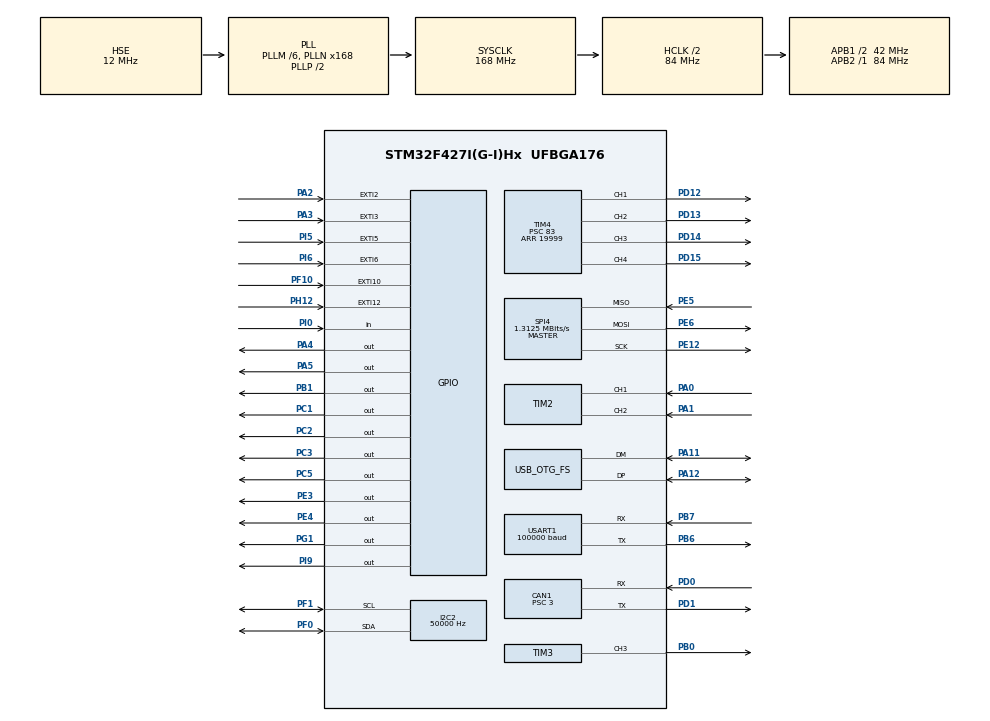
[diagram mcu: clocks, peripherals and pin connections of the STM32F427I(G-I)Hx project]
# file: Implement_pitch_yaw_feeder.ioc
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CAN1.BS1=CAN_BS1_9TQ
CAN1.BS2=CAN_BS2_4TQ
CAN1.CalculateBaudRate=1000000
CAN1.CalculateTimeBit=1000
CAN1.CalculateTimeQuantum=71.42857142857143
CAN1.Prescaler=3
Dma.Request0=USART1_RX
Dma.Request1=SPI4_TX
Dma.SPI4_TX.1.Direction=DMA_MEMORY_TO_PERIPH
Dma.SPI4_TX.1.FIFOMode=DMA_FIFOMODE_DISABLE
Dma.SPI4_TX.1.Instance=DMA2_Stream1
Dma.SPI4_TX.1.MemDataAlignment=DMA_MDATAALIGN_BYTE
Dma.SPI4_TX.1.MemInc=DMA_MINC_ENABLE
Dma.SPI4_TX.1.Mode=DMA_NORMAL
Dma.SPI4_TX.1.PeriphDataAlignment=DMA_PDATAALIGN_BYTE
Dma.SPI4_TX.1.PeriphInc=DMA_PINC_DISABLE
Dma.SPI4_TX.1.Priority=DMA_PRIORITY_LOW
Dma.USART1_RX.0.Direction=DMA_PERIPH_TO_MEMORY
Dma.USART1_RX.0.FIFOMode=DMA_FIFOMODE_DISABLE
Dma.USART1_RX.0.Instance=DMA2_Stream2
Dma.USART1_RX.0.MemDataAlignment=DMA_MDATAALIGN_BYTE
Dma.USART1_RX.0.MemInc=DMA_MINC_ENABLE
Dma.USART1_RX.0.Mode=DMA_CIRCULAR
Dma.USART1_RX.0.PeriphDataAlignment=DMA_PDATAALIGN_BYTE
Dma.USART1_RX.0.PeriphInc=DMA_PINC_DISABLE
Dma.USART1_RX.0.Priority=DMA_PRIORITY_LOW
FREERTOS.Tasks01=controlTask,24,4096,ControlTask,As weak,NULL,Static,controlTaskBuffer,controlTaskControlBlock;pitchnyawTask,24,1024,PitchnYawTask,As weak,NULL,Static,pitchnyawTaskBuffer,pitchnyawTaskControlBlock;launcherTask,24,1024,LauncherTask,As weak,NULL,Static,launcherTaskBuffer,launcherTaskControlBlock
FREERTOS.configUSE_NEWLIB_REENTRANT=1
I2C2.ClockSpeed=50000
Mcu.Family=STM32F4
Mcu.Name=STM32F427I(G-I)Hx
Mcu.Package=UFBGA176
NVIC.CAN1_RX0_IRQn=true\:5\:0\:false\:false\:true\:true\:true\:true\:true
NVIC.DMA2_Stream1_IRQn=true\:5\:0\:true\:false\:true\:true\:false\:true\:true
NVIC.DMA2_Stream2_IRQn=true\:5\:0\:false\:false\:true\:true\:false\:true\:true
NVIC.EXTI15_10_IRQn=true\:5\:0\:false\:false\:true\:true\:true\:true\:true
NVIC.EXTI2_IRQn=true\:5\:0\:false\:false\:true\:true\:true\:true\:true
NVIC.EXTI3_IRQn=true\:5\:0\:false\:false\:true\:true\:true\:true\:true
NVIC.EXTI9_5_IRQn=true\:5\:0\:false\:false\:true\:true\:true\:true\:true
NVIC.OTG_FS_IRQn=true\:5\:0\:false\:false\:true\:true\:true\:true\:true
NVIC.PriorityGroup=NVIC_PRIORITYGROUP_4
NVIC.TIM6_DAC_IRQn=true\:15\:0\:false\:false\:true\:false\:false\:true\:true
NVIC.TimeBase=TIM6_DAC_IRQn
NVIC.TimeBaseIP=TIM6
NVIC.USART1_IRQn=true\:5\:0\:false\:false\:true\:true\:true\:true\:true
PA0/WKUP.Signal=S_TIM2_CH1_ETR
PA1.Signal=S_TIM2_CH2
PA11.Mode=Device_Only
PA11.Signal=USB_OTG_FS_DM
PA12.Mode=Device_Only
PA12.Signal=USB_OTG_FS_DP
PA13.Mode=Serial_Wire
PA13.Signal=SYS_JTMS-SWDIO
PA14.Mode=Serial_Wire
PA14.Signal=SYS_JTCK-SWCLK
PA2.GPIO_ModeDefaultEXTI=GPIO_MODE_IT_RISING
PA2.GPIO_PuPd=GPIO_PULLDOWN
PA2.Signal=GPXTI2
PA3.GPIO_PuPd=GPIO_PULLDOWN
PA3.Signal=GPXTI3
PA4.Signal=GPIO_Output
PA5.Signal=GPIO_Output
PB0.Signal=S_TIM3_CH3
PB1.Signal=GPIO_Output
PB6.Mode=Asynchronous
PB6.Signal=USART1_TX
PB7.Mode=Asynchronous
PB7.Signal=USART1_RX
PC1.Signal=GPIO_Output
PC2.Signal=GPIO_Output
PC3.Signal=GPIO_Output
PC5.Signal=GPIO_Output
PD0.Mode=CAN_Activate
PD0.Signal=CAN1_RX
PD1.Mode=CAN_Activate
PD1.Signal=CAN1_TX
PD12.Signal=S_TIM4_CH1
PD13.Signal=S_TIM4_CH2
PD14.Signal=S_TIM4_CH3
PD15.Signal=S_TIM4_CH4
PE12.Mode=Full_Duplex_Master
PE12.Signal=SPI4_SCK
PE3.Signal=GPIO_Output
PE4.PinState=GPIO_PIN_SET
PE4.Signal=GPIO_Output
PE5.Mode=Full_Duplex_Master
PE5.Signal=SPI4_MISO
PE6.Mode=Full_Duplex_Master
PE6.Signal=SPI4_MOSI
PF0.Mode=I2C
PF0.Signal=I2C2_SDA
PF1.Mode=I2C
PF1.Signal=I2C2_SCL
PF10.Signal=GPXTI10
PG1.Signal=GPIO_Output
PH0/OSC_IN.Mode=HSE-External-Oscillator
PH0/OSC_IN.Signal=RCC_OSC_IN
PH1/OSC_OUT.Mode=HSE-External-Oscillator
PH1/OSC_OUT.Signal=RCC_OSC_OUT
PH12.GPIO_PuPd=GPIO_PULLDOWN
PH12.Signal=GPXTI12
PI0.GPIO_PuPd=GPIO_PULLUP
PI0.Signal=GPIO_Input
PI5.GPIO_ModeDefaultEXTI=GPIO_MODE_IT_RISING
PI5.GPIO_PuPd=GPIO_PULLDOWN
PI5.Signal=GPXTI5
PI6.GPIO_ModeDefaultEXTI=GPIO_MODE_IT_RISING_FALLING
PI6.Signal=GPXTI6
PI9.Signal=GPIO_Output
ProjectManager.HeapSize=0x200
ProjectManager.StackSize=0x400
ProjectManager.TargetToolchain=STM32CubeIDE
RCC.48MHZClocksFreq_Value=48000000
RCC.AHBCLKDivider=RCC_SYSCLK_DIV2
RCC.AHBFreq_Value=84000000
RCC.APB1CLKDivider=RCC_HCLK_DIV2
RCC.APB1Freq_Value=42000000
RCC.APB1TimFreq_Value=84000000
RCC.APB2Freq_Value=84000000
RCC.APB2TimFreq_Value=84000000
RCC.CortexFreq_Value=84000000
RCC.HCLKFreq_Value=84000000
RCC.HSE_VALUE=12000000
RCC.HSI_VALUE=16000000
RCC.LSE_VALUE=32768
RCC.PLLM=6
RCC.PLLN=168
RCC.PLLQ=7
RCC.SYSCLKFreq_VALUE=168000000
RCC.SYSCLKSource=RCC_SYSCLKSOURCE_PLLCLK
RCC.VCOOutputFreq_Value=336000000
SH.S_TIM2_CH1_ETR.0=TIM2_CH1,Encoder_Interface
SH.S_TIM2_CH2.0=TIM2_CH2,Encoder_Interface
SH.S_TIM3_CH3.0=TIM3_CH3,PWM Generation3 CH3
SH.S_TIM4_CH1.0=TIM4_CH1,PWM Generation1 CH1
SH.S_TIM4_CH2.0=TIM4_CH2,PWM Generation2 CH2
SH.S_TIM4_CH3.0=TIM4_CH3,PWM Generation3 CH3
SH.S_TIM4_CH4.0=TIM4_CH4,PWM Generation4 CH4
SPI4.BaudRatePrescaler=SPI_BAUDRATEPRESCALER_64
SPI4.CalculateBaudRate=1.3125 MBits/s
SPI4.DataSize=SPI_DATASIZE_8BIT
SPI4.Direction=SPI_DIRECTION_2LINES
SPI4.Mode=SPI_MODE_MASTER
SPI4.VirtualType=VM_MASTER
TIM2.EncoderMode=TIM_ENCODERMODE_TI12
TIM2.IC1Filter=3
TIM2.IC2Filter=3
TIM3.Channel-PWM\ Generation3\ CH3=TIM_CHANNEL_3
TIM3.Period=3359
TIM3.Pulse-PWM\ Generation3\ CH3=50000
TIM4.Channel-PWM\ Generation1\ CH1=TIM_CHANNEL_1
TIM4.Channel-PWM\ Generation2\ CH2=TIM_CHANNEL_2
TIM4.Channel-PWM\ Generation3\ CH3=TIM_CHANNEL_3
TIM4.Channel-PWM\ Generation4\ CH4=TIM_CHANNEL_4
TIM4.Period=19999
TIM4.Prescaler=83
USART1.BaudRate=100000
USART1.Parity=PARITY_EVEN
USART1.VirtualMode=VM_ASYNC
USART1.WordLength=WORDLENGTH_8B
USB_DEVICE.CLASS_NAME_FS=CDC
USB_DEVICE.VirtualMode-CDC_FS=Cdc
USB_DEVICE.VirtualModeFS=Cdc_FS
USB_OTG_FS.VirtualMode=Device_Only
VP_DMA2D_VS_DMA2D.Mode=DMA2D_Activate
VP_FREERTOS_VS_CMSIS_V2.Mode=CMSIS_V2
VP_SYS_VS_tim6.Mode=TIM6
VP_USB_DEVICE_VS_USB_DEVICE_CDC_FS.Mode=CDC_FS
board=custom

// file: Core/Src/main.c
/* USER CODE BEGIN Header */
/**
  ******************************************************************************
  * @file           : main.c
  * @brief          : Main program body
  ******************************************************************************
  * @attention
  *
  * Copyright (c) 2025 STMicroelectronics.
  * All rights reserved.
  *
  * This software is licensed under terms that can be found in the LICENSE file
  * in the root directory of this software component.
  * If no LICENSE file comes with this software, it is provided AS-IS.
  *
  ******************************************************************************
  */

//========================================= Power ================================================//
// LCD Module STM32 MCU
// VCC -> DC5V / 3.3V // Power
// GND -> GND // Ground
//
// Pitch encoder power note:
// - Pitch encoder needs 5V (power from a 5V rail, not GPIO)
//================================================================================================//

//======================================= LCD Interface ===========================================//
// The module defaults to SPI mode
// LCD Module STM32 MCU
// SDI (MOSI) -> PE6  // SPI data write
// SDO (MISO) -> PE5  // SPI data read (optional)
//
// LCD Module STM32 MCU
// LED       -> PC1  // Backlight control (or tie to 5V / 3.3V)
// SCK       -> PE12 // SPI clock
// LCD_RS    -> PC5  // Data / Command select
// LCD_RST   -> PA5  // LCD reset
// LCD_CS    -> PA4  // Chip select
//================================================================================================//

//===================================== Touch (Optional) ==========================================//
// If touch is not used, these pins can be left unconnected
// Touch Module STM32 MCU
// CTP_INT -> PF10 // Touch interrupt
// CTP_SDA -> PF0  // I2C data
// CTP_RST -> PI9  // Touch reset
// CTP_SCL -> PF1  // I2C clock
//================================================================================================//

//==================================== Electronic Lock ============================================//
// Lock Signal STM32 MCU
// Lock status -> PI0
//================================================================================================//

//======================================== Pitch Motor ============================================//
// Brushed DC pitch motor (H-bridge + PWM):
// 3V3 Logic Power      -> PC2           // Logic-level supply only (not for encoder)
// Forward  (Pitch up)  -> PB1 (FWD_Pin) // FWD_GPIO_Port / FWD_Pin in main.h
// Backward (Pitch down)-> PC3 (BWD_Pin) // BWD_GPIO_Port / BWD_Pin in main.h
// PWM                 -> PB0           // TIM3_CH3, mapped via PWM_TIM / PWM_CHANNEL
//
// Pitch optical endstops:
// - Upper -> PA2 (pitch upper optical endstop 45 degrees)
// - Lower -> PA3 (pitch lower optical endstop 35 degrees)
//
// Pitch Hall effect channel A and B incremental encoder:
// - A0 and A1 are the channel A and B pins of the encoder
// - A0 is the channel A pin of the encoder
// - A1 is the channel B pin of the encoder
// - The encoder requires 3.3V logic power (external 3.3V rail)
// - uses TIM2 for the encoder
//================================================================================================//

//========================================= Yaw Control ===========================================//
// Yaw control and feedback via CAN only
// No extra GPIO required
//================================================================================================//

//========================================= Launcher =============================================//
// Launcher optical endstop -> PH12 (cannot pull beyond this point)
// Launcher servo (release dart) -> PD15 (TIM4_CH4)
//================================================================================================//

//=========================================== Feeder ==============================================//
// Feeder actuation uses servos (TIM4) and a CAN motor.
//
// Feeder servo 1 -> PD12 (TIM4_CH1)
// Feeder servo 2 -> PD13 (TIM4_CH2)
// Feeder servo 3 -> PD14 (TIM4_CH3)
// Feeder optical endstop -> PI5
//
//
// Feeder CAN motor:
// - Control and feedback via CAN bus
// - No dedicated GPIO required for motor control
//================================================================================================//

/* USER CODE END Header */
#include "main.h"
#include "cmsis_os.h"
#include "usb_device.h"

/* USER CODE BEGIN Includes */
#include "remote_control.h"
#include "hx711.h"
#include "./LCD_CAP/LCD/lcd.h"
#include "./LCD_CAP/TOUCH/touch.h"
#include "./LCD_CAP/GUI/GUI.h"
#include "lvgl.h"
#include <stdio.h>
#include "ui.h"
#include "usbd_cdc_if.h"
#include <string.h>
#include "bsp_damiao.h"
#include <math.h>
#include "typedefs.h"
#include <DART_CONFIG.h>

/* USER CODE END Includes */

typedef StaticTask_t osStaticThreadDef_t;

/* USER CODE BEGIN PD */
#define MY_DISP_VER_RES LCD_H
#define MY_DISP_HOR_RES LCD_W
/* Declare buffer for 1/10 screen size; BYTES_PER_PIXEL will be 2 for RGB565. */
#define BYTES_PER_PIXEL (LV_COLOR_FORMAT_GET_SIZE(LV_COLOR_FORMAT_RGB565))
#define buffer_divide 10
static uint8_t buf1[LCD_W * LCD_H / buffer_divide * BYTES_PER_PIXEL];
//static uint8_t buf2[LCD_W * LCD_H / buffer_divide * BYTES_PER_PIXEL];
volatile lv_mutex_t lv_mutex;

#define USB_LEN 128
uint8_t usbTxtBuf[USB_LEN];
/* USER CODE END PD */

CAN_HandleTypeDef hcan1;

DMA2D_HandleTypeDef hdma2d;

I2C_HandleTypeDef hi2c2;

SPI_HandleTypeDef hspi4;
DMA_HandleTypeDef hdma_spi4_tx;

TIM_HandleTypeDef htim2;
TIM_HandleTypeDef htim3;
TIM_HandleTypeDef htim4;

UART_HandleTypeDef huart1;
DMA_HandleTypeDef hdma_usart1_rx;

/* Definitions for controlTask */
osThreadId_t controlTaskHandle;
uint32_t controlTaskBuffer[ 4096 ];
osStaticThreadDef_t controlTaskControlBlock;
const osThreadAttr_t controlTask_attributes = {
  .name = "controlTask",
  .cb_mem = &controlTaskControlBlock,
  .cb_size = sizeof(controlTaskControlBlock),
  .stack_mem = &controlTaskBuffer[0],
  .stack_size = sizeof(controlTaskBuffer),
  .priority = (osPriority_t) osPriorityNormal,
};
/* Definitions for pitchnyawTask */
osThreadId_t pitchnyawTaskHandle;
uint32_t pitchnyawTaskBuffer[ 1024 ];
osStaticThreadDef_t pitchnyawTaskControlBlock;
const osThreadAttr_t pitchnyawTask_attributes = {
  .name = "pitchnyawTask",
  .cb_mem = &pitchnyawTaskControlBlock,
  .cb_size = sizeof(pitchnyawTaskControlBlock),
  .stack_mem = &pitchnyawTaskBuffer[0],
  .stack_size = sizeof(pitchnyawTaskBuffer),
  .priority = (osPriority_t) osPriorityNormal,
};
/* Definitions for launcherTask */
osThreadId_t launcherTaskHandle;
uint32_t launcherTaskBuffer[ 1024 ];
osStaticThreadDef_t launcherTaskControlBlock;
const osThreadAttr_t launcherTask_attributes = {
  .name = "launcherTask",
  .cb_mem = &launcherTaskControlBlock,
  .cb_size = sizeof(launcherTaskControlBlock),
  .stack_mem = &launcherTaskBuffer[0],
  .stack_size = sizeof(launcherTaskBuffer),
  .priority = (osPriority_t) osPriorityNormal,
};
/* USER CODE BEGIN PV */
extern RC_ctrl_t rc_ctrl;  /* defined in remote_control.c with guard to avoid affecting adjacent variables */
HX711 hx;
int32_t weight;
int32_t value;
extern int16_t _width;       								///< (oriented) display width
extern int16_t _height;
int32_t count = 450;
char buf_txt[32];
volatile lv_display_t * display1;
volatile uint8_t touch_flag;
static lv_indev_t * touch_indev;
static lv_obj_t * keypad_ta;

extern volatile dm_motor_t dm_pitch_motor;
extern volatile dm_motor_t dm_yaw_motor;
extern volatile dm_motor_t dm_feeder_motor;
extern volatile dm_motor_t dm_launching_motor;

 bool op_sen_yaw_45deg;
 bool op_sen_yaw_35deg;
extern bool op_sen_launcher_limits;
extern bool op_sen_feeder;
//extern bool lock;
/* USER CODE END PV */

void SystemClock_Config(void);
static void MX_GPIO_Init(void);
static void MX_DMA_Init(void);
static void MX_CAN1_Init(void);
static void MX_USART1_UART_Init(void);
static void MX_SPI4_Init(void);
static void MX_DMA2D_Init(void);
static void MX_I2C2_Init(void);
static void MX_TIM3_Init(void);
static void MX_TIM2_Init(void);
static void MX_TIM4_Init(void);
void ControlTask(void *argument);
void PitchnYawTask(void *argument);
void LauncherTask(void *argument);

/* USER CODE BEGIN PFP */
static void lvgl_port_init(void);
static void touch_read_cb(lv_indev_t * indev, lv_indev_data_t * data);

/* USER CODE END PFP */

/* USER CODE BEGIN 0 */
void setup_can(){
 CAN_FilterTypeDef can_filter_st = {0};
 can_filter_st.FilterActivation = ENABLE;
 can_filter_st.FilterMode = CAN_FILTERMODE_IDMASK;
 can_filter_st.FilterScale = CAN_FILTERSCALE_32BIT;
 can_filter_st.FilterIdHigh = 0;
 can_filter_st.FilterIdLow = 0;
 can_filter_st.FilterMaskIdHigh = 0;
 can_filter_st.FilterMaskIdLow = 0;
 can_filter_st.FilterBank=0;
 can_filter_st.FilterFIFOAssignment = CAN_RX_FIFO0;
 HAL_CAN_ConfigFilter(&hcan1, &can_filter_st);
 HAL_CAN_Start(&hcan1);
 HAL_CAN_ActivateNotification(&hcan1,CAN_IT_RX_FIFO0_MSG_PENDING | CAN_IT_RX_FIFO0_FULL| CAN_IT_RX_FIFO0_OVERRUN);
}

/* Launcher absolute position handling is implemented in launcherTask.c.
 * main.c only initializes and uses the interface (e.g. launcher_turns_reset). */

void HAL_CAN_RxFifo0MsgPendingCallback(CAN_HandleTypeDef *hcan){
	CAN_RxHeaderTypeDef rx_header;
	uint8_t rx_buffer[8];
	HAL_CAN_DeactivateNotification(hcan,
	  CAN_IT_RX_FIFO0_MSG_PENDING | CAN_IT_RX_FIFO0_FULL| CAN_IT_RX_FIFO0_OVERRUN);
	HAL_CAN_GetRxMessage(hcan, CAN_RX_FIFO0, &rx_header, rx_buffer);

	if (rx_header.StdId == 0x00) {
		/* D[0] lower 4 bits = motor ID, upper 4 = ERR (per DM-J8009 manual). Motor IDs must have unique lower 4 bits. */
		uint8_t motor_id = rx_buffer[0] & 0x0F;
		if (motor_id == (dm_pitch_motor.id & 0x0F)) {
			dm_fbdata(&dm_pitch_motor, rx_buffer);
		} else if (motor_id == (dm_yaw_motor.id & 0x0F)) {
			dm_fbdata(&dm_yaw_motor, rx_buffer);
		} else if (motor_id == (dm_feeder_motor.id & 0x0F)) {
			dm_fbdata(&dm_feeder_motor, rx_buffer);
		} else if (motor_id == (dm_launching_motor.id & 0x0F)) {
			dm_fbdata(&dm_launching_motor, rx_buffer);
		}
	}
	HAL_CAN_ActivateNotification(hcan, CAN_IT_RX_FIFO0_MSG_PENDING | CAN_IT_RX_FIFO0_FULL| CAN_IT_RX_FIFO0_OVERRUN);
}

#define SPEED rc_ctrl.rc.ch[0]

void HAL_GPIO_EXTI_Callback(uint16_t GPIO_Pin) {
//   if (GPIO_Pin == GPIO_PIN_0){
//		lock = true;
//   }
   if (GPIO_Pin == GPIO_PIN_10) {
        touch_flag = 1;
    }
   if (GPIO_Pin == GPIO_PIN_2){
    op_sen_yaw_45deg = true;
   }
   if (GPIO_Pin == GPIO_PIN_3){
    op_sen_yaw_35deg = true;
   }
   if (GPIO_Pin == GPIO_PIN_12){
    op_sen_launcher_limits = true;
   }
   if (GPIO_Pin == GPIO_PIN_5){
    op_sen_feeder = true;
   }
}

void tft_set_addr_window(uint16_t x0,uint16_t y0,uint16_t x1,uint16_t y1)
{
    uint8_t caset[4] = { x0>>8, x0&0xFF, x1>>8, x1&0xFF };
    uint8_t raset[4] = { y0>>8, y0&0xFF, y1>>8, y1&0xFF };

    LCD_WR_REG(0x2A);
    LCD_WR_DATA(caset[0]);
    LCD_WR_DATA(caset[1]);
    LCD_WR_DATA(caset[2]);
    LCD_WR_DATA(caset[3]);

    LCD_WR_REG(0x2B);
    LCD_WR_DATA(raset[0]);
    LCD_WR_DATA(raset[1]);
    LCD_WR_DATA(raset[2]);
    LCD_WR_DATA(raset[3]);

    LCD_WR_REG(0x2C); // RAMWR
}

void tft_put_pixel(uint16_t x,uint16_t y,uint16_t color)
{
    tft_set_addr_window(x,y,x,y);
    Lcd_WriteData_16Bit(color);
}

void my_flush_cb(lv_display_t * display, const lv_area_t * area, uint8_t * px_map)
{
    uint32_t w = (uint32_t)(area->x2 - area->x1 + 1);
    uint32_t h = (uint32_t)(area->y2 - area->y1 + 1);
    uint32_t size = w * h * BYTES_PER_PIXEL;

    LCD_SetWindows(area->x1, area->y1, area->x2, area->y2);
    LCD_CS_CLR;
    LCD_RS_SET;
    while (size > 0U) {
      uint16_t chunk = (size > 0xFFFFU) ? 0xFFFFU : (uint16_t)size;
      HAL_SPI_Transmit(&hspi4, px_map, chunk, HAL_MAX_DELAY);
      px_map += chunk;
      size -= chunk;
    }
    LCD_CS_SET;
    lv_display_flush_ready(display);
}

static void lvgl_port_init(void)
{
  lv_init();
  lv_tick_set_cb(HAL_GetTick);

  display1 = lv_display_create(MY_DISP_VER_RES, MY_DISP_HOR_RES);
  lv_display_set_color_format((lv_display_t *)display1, LV_COLOR_FORMAT_RGB565_SWAPPED);
  lv_display_set_buffers(display1, buf1, NULL, sizeof(buf1), LV_DISPLAY_RENDER_MODE_PARTIAL);
  lv_display_set_flush_cb(display1, my_flush_cb);

  touch_indev = lv_indev_create();
  lv_indev_set_type(touch_indev, LV_INDEV_TYPE_POINTER);
  lv_indev_set_read_cb(touch_indev, touch_read_cb);
  lv_indev_set_display(touch_indev, (lv_display_t *)display1);
}

static void touch_read_cb(lv_indev_t * indev, lv_indev_data_t * data)
{
  (void)indev;
  if (tp_dev.scan) {
    tp_dev.scan();
  }

  if (tp_dev.sta & TP_PRES_DOWN) {
    data->state = LV_INDEV_STATE_PRESSED;
    data->point.x = tp_dev.x[0];
    data->point.y = tp_dev.y[0];
  } else {
    data->state = LV_INDEV_STATE_RELEASED;
  }
}

/* USER CODE END 0 */

int main(void)
{

  /* MCU Configuration--------------------------------------------------------*/

  /* Reset of all peripherals, Initializes the Flash interface and the Systick. */
  HAL_Init();

  /* Configure the system clock */
  SystemClock_Config();

  /* Initialize all configured peripherals */
  MX_GPIO_Init();
  MX_DMA_Init();
  MX_CAN1_Init();
  MX_USART1_UART_Init();
  MX_SPI4_Init();
  MX_DMA2D_Init();
  MX_I2C2_Init();
  MX_TIM3_Init();
  MX_TIM2_Init();
  MX_TIM4_Init();
  /* USER CODE BEGIN 2 */
  MX_USB_DEVICE_Init();

//  HAL_GPIO_WritePin(GPIOE, GPIO_PIN_4, GPIO_PIN_SET);
//  HAL_GPIO_WritePin(GPIOB, GPIO_PIN_1, GPIO_PIN_SET);
  setup_can();
  remote_control_init();
//  hx711_init(&hx, GPIOF, GPIO_PIN_0, GPIOF, GPIO_PIN_1,HX711_GAIN_128);
  LCD_Init();
  LCD_direction(1);
  TP_Init();

  lvgl_port_init();
  HAL_Delay(3000);
  dm_motor_init();

//  uint32_t counting = 0;
//  uint32_t counter = 0;
  /* USER CODE END 2 */

  /* Init scheduler */
  osKernelInitialize();

  /* USER CODE BEGIN RTOS_MUTEX */
  /* add mutexes, ... */
//  lv_mutex_init(&lv_mutex);
  /* USER CODE END RTOS_MUTEX */

  /* Create the thread(s) */
  /* creation of controlTask */
  controlTaskHandle = osThreadNew(ControlTask, NULL, &controlTask_attributes);

  /* creation of pitchnyawTask */
  pitchnyawTaskHandle = osThreadNew(PitchnYawTask, NULL, &pitchnyawTask_attributes);

  /* creation of launcherTask */
  launcherTaskHandle = osThreadNew(LauncherTask, NULL, &launcherTask_attributes);

  /* USER CODE BEGIN RTOS_EVENTS */
  /* add events, ... */
  ui_init();
  /* USER CODE END RTOS_EVENTS */

  /* Start scheduler */
  osKernelStart();

  /* We should never get here as control is now taken by the scheduler */
  /* Infinite loop */
  while (1)
  {

  }
}

void SystemClock_Config(void)
{
  RCC_OscInitTypeDef RCC_OscInitStruct = {0};
  RCC_ClkInitTypeDef RCC_ClkInitStruct = {0};

  /** Configure the main internal regulator output voltage
  */
  __HAL_RCC_PWR_CLK_ENABLE();
  __HAL_PWR_VOLTAGESCALING_CONFIG(PWR_REGULATOR_VOLTAGE_SCALE3);

  /** Initializes the RCC Oscillators according to the specified parameters
  * in the RCC_OscInitTypeDef structure.
  */
  RCC_OscInitStruct.OscillatorType = RCC_OSCILLATORTYPE_HSE;
  RCC_OscInitStruct.HSEState = RCC_HSE_ON;
  RCC_OscInitStruct.PLL.PLLState = RCC_PLL_ON;
  RCC_OscInitStruct.PLL.PLLSource = RCC_PLLSOURCE_HSE;
  RCC_OscInitStruct.PLL.PLLM = 6;
  RCC_OscInitStruct.PLL.PLLN = 168;
  RCC_OscInitStruct.PLL.PLLP = RCC_PLLP_DIV2;
  RCC_OscInitStruct.PLL.PLLQ = 7;
  if (HAL_RCC_OscConfig(&RCC_OscInitStruct) != HAL_OK)
  {
    Error_Handler();
  }

  /** Initializes the CPU, AHB and APB buses clocks
  */
  RCC_ClkInitStruct.ClockType = RCC_CLOCKTYPE_HCLK|RCC_CLOCKTYPE_SYSCLK
                              |RCC_CLOCKTYPE_PCLK1|RCC_CLOCKTYPE_PCLK2;
  RCC_ClkInitStruct.SYSCLKSource = RCC_SYSCLKSOURCE_PLLCLK;
  RCC_ClkInitStruct.AHBCLKDivider = RCC_SYSCLK_DIV2;
  RCC_ClkInitStruct.APB1CLKDivider = RCC_HCLK_DIV2;
  RCC_ClkInitStruct.APB2CLKDivider = RCC_HCLK_DIV1;

  if (HAL_RCC_ClockConfig(&RCC_ClkInitStruct, FLASH_LATENCY_2) != HAL_OK)
  {
    Error_Handler();
  }
}

static void MX_CAN1_Init(void)
{

  hcan1.Instance = CAN1;
  hcan1.Init.Prescaler = 3;
  hcan1.Init.Mode = CAN_MODE_NORMAL;
  hcan1.Init.SyncJumpWidth = CAN_SJW_1TQ;
  hcan1.Init.TimeSeg1 = CAN_BS1_9TQ;
  hcan1.Init.TimeSeg2 = CAN_BS2_4TQ;
  hcan1.Init.TimeTriggeredMode = DISABLE;
  hcan1.Init.AutoBusOff = DISABLE;
  hcan1.Init.AutoWakeUp = DISABLE;
  hcan1.Init.AutoRetransmission = DISABLE;
  hcan1.Init.ReceiveFifoLocked = DISABLE;
  hcan1.Init.TransmitFifoPriority = DISABLE;
  if (HAL_CAN_Init(&hcan1) != HAL_OK)
  {
    Error_Handler();
  }

}

static void MX_DMA2D_Init(void)
{

  hdma2d.Instance = DMA2D;
  hdma2d.Init.Mode = DMA2D_M2M;
  hdma2d.Init.ColorMode = DMA2D_OUTPUT_ARGB8888;
  hdma2d.Init.OutputOffset = 0;
  hdma2d.LayerCfg[1].InputOffset = 0;
  hdma2d.LayerCfg[1].InputColorMode = DMA2D_INPUT_ARGB8888;
  hdma2d.LayerCfg[1].AlphaMode = DMA2D_NO_MODIF_ALPHA;
  hdma2d.LayerCfg[1].InputAlpha = 0;
  if (HAL_DMA2D_Init(&hdma2d) != HAL_OK)
  {
    Error_Handler();
  }
  if (HAL_DMA2D_ConfigLayer(&hdma2d, 1) != HAL_OK)
  {
    Error_Handler();
  }

}

static void MX_I2C2_Init(void)
{

  hi2c2.Instance = I2C2;
  hi2c2.Init.ClockSpeed = 50000;
  hi2c2.Init.DutyCycle = I2C_DUTYCYCLE_2;
  hi2c2.Init.OwnAddress1 = 0;
  hi2c2.Init.AddressingMode = I2C_ADDRESSINGMODE_7BIT;
  hi2c2.Init.DualAddressMode = I2C_DUALADDRESS_DISABLE;
  hi2c2.Init.OwnAddress2 = 0;
  hi2c2.Init.GeneralCallMode = I2C_GENERALCALL_DISABLE;
  hi2c2.Init.NoStretchMode = I2C_NOSTRETCH_DISABLE;
  if (HAL_I2C_Init(&hi2c2) != HAL_OK)
  {
    Error_Handler();
  }

  /** Configure Analogue filter
  */
  if (HAL_I2CEx_ConfigAnalogFilter(&hi2c2, I2C_ANALOGFILTER_ENABLE) != HAL_OK)
  {
    Error_Handler();
  }

  /** Configure Digital filter
  */
  if (HAL_I2CEx_ConfigDigitalFilter(&hi2c2, 0) != HAL_OK)
  {
    Error_Handler();
  }

}

static void MX_SPI4_Init(void)
{

  /* SPI4 parameter configuration*/
  hspi4.Instance = SPI4;
  hspi4.Init.Mode = SPI_MODE_MASTER;
  hspi4.Init.Direction = SPI_DIRECTION_2LINES;
  hspi4.Init.DataSize = SPI_DATASIZE_8BIT;
  hspi4.Init.CLKPolarity = SPI_POLARITY_LOW;
  hspi4.Init.CLKPhase = SPI_PHASE_1EDGE;
  hspi4.Init.NSS = SPI_NSS_SOFT;
  hspi4.Init.BaudRatePrescaler = SPI_BAUDRATEPRESCALER_64;
  hspi4.Init.FirstBit = SPI_FIRSTBIT_MSB;
  hspi4.Init.TIMode = SPI_TIMODE_DISABLE;
  hspi4.Init.CRCCalculation = SPI_CRCCALCULATION_DISABLE;
  hspi4.Init.CRCPolynomial = 10;
  if (HAL_SPI_Init(&hspi4) != HAL_OK)
  {
    Error_Handler();
  }

}

static void MX_TIM2_Init(void)
{

  TIM_Encoder_InitTypeDef sConfig = {0};
  TIM_MasterConfigTypeDef sMasterConfig = {0};

  htim2.Instance = TIM2;
  htim2.Init.Prescaler = 0;
  htim2.Init.CounterMode = TIM_COUNTERMODE_UP;
  htim2.Init.Period = 4294967295;
  htim2.Init.ClockDivision = TIM_CLOCKDIVISION_DIV1;
  htim2.Init.AutoReloadPreload = TIM_AUTORELOAD_PRELOAD_DISABLE;
  sConfig.EncoderMode = TIM_ENCODERMODE_TI12;
  sConfig.IC1Polarity = TIM_ICPOLARITY_RISING;
  sConfig.IC1Selection = TIM_ICSELECTION_DIRECTTI;
  sConfig.IC1Prescaler = TIM_ICPSC_DIV1;
  sConfig.IC1Filter = 3;
  sConfig.IC2Polarity = TIM_ICPOLARITY_RISING;
  sConfig.IC2Selection = TIM_ICSELECTION_DIRECTTI;
  sConfig.IC2Prescaler = TIM_ICPSC_DIV1;
  sConfig.IC2Filter = 3;
  if (HAL_TIM_Encoder_Init(&htim2, &sConfig) != HAL_OK)
  {
    Error_Handler();
  }
  sMasterConfig.MasterOutputTrigger = TIM_TRGO_RESET;
  sMasterConfig.MasterSlaveMode = TIM_MASTERSLAVEMODE_DISABLE;
  if (HAL_TIMEx_MasterConfigSynchronization(&htim2, &sMasterConfig) != HAL_OK)
  {
    Error_Handler();
  }

}

static void MX_TIM3_Init(void)
{

  TIM_MasterConfigTypeDef sMasterConfig = {0};
  TIM_OC_InitTypeDef sConfigOC = {0};

  htim3.Instance = TIM3;
  htim3.Init.Prescaler = 0;
  htim3.Init.CounterMode = TIM_COUNTERMODE_UP;
  htim3.Init.Period = 3359;
  htim3.Init.ClockDivision = TIM_CLOCKDIVISION_DIV1;
  htim3.Init.AutoReloadPreload = TIM_AUTORELOAD_PRELOAD_DISABLE;
  if (HAL_TIM_PWM_Init(&htim3) != HAL_OK)
  {
    Error_Handler();
  }
  sMasterConfig.MasterOutputTrigger = TIM_TRGO_RESET;
  sMasterConfig.MasterSlaveMode = TIM_MASTERSLAVEMODE_DISABLE;
  if (HAL_TIMEx_MasterConfigSynchronization(&htim3, &sMasterConfig) != HAL_OK)
  {
    Error_Handler();
  }
  sConfigOC.OCMode = TIM_OCMODE_PWM1;
  sConfigOC.Pulse = 50000;
  sConfigOC.OCPolarity = TIM_OCPOLARITY_HIGH;
  sConfigOC.OCFastMode = TIM_OCFAST_DISABLE;
  if (HAL_TIM_PWM_ConfigChannel(&htim3, &sConfigOC, TIM_CHANNEL_3) != HAL_OK)
  {
    Error_Handler();
  }
  HAL_TIM_MspPostInit(&htim3);

}

static void MX_TIM4_Init(void)
{

  TIM_MasterConfigTypeDef sMasterConfig = {0};
  TIM_OC_InitTypeDef sConfigOC = {0};

  htim4.Instance = TIM4;
  htim4.Init.Prescaler = 83;
  htim4.Init.CounterMode = TIM_COUNTERMODE_UP;
  htim4.Init.Period = 19999;
  htim4.Init.ClockDivision = TIM_CLOCKDIVISION_DIV1;
  htim4.Init.AutoReloadPreload = TIM_AUTORELOAD_PRELOAD_DISABLE;
  if (HAL_TIM_PWM_Init(&htim4) != HAL_OK)
  {
    Error_Handler();
  }
  sMasterConfig.MasterOutputTrigger = TIM_TRGO_RESET;
  sMasterConfig.MasterSlaveMode = TIM_MASTERSLAVEMODE_DISABLE;
  if (HAL_TIMEx_MasterConfigSynchronization(&htim4, &sMasterConfig) != HAL_OK)
  {
    Error_Handler();
  }
  sConfigOC.OCMode = TIM_OCMODE_PWM1;
  sConfigOC.Pulse = 0;
  sConfigOC.OCPolarity = TIM_OCPOLARITY_HIGH;
  sConfigOC.OCFastMode = TIM_OCFAST_DISABLE;
  if (HAL_TIM_PWM_ConfigChannel(&htim4, &sConfigOC, TIM_CHANNEL_1) != HAL_OK)
  {
    Error_Handler();
  }
  if (HAL_TIM_PWM_ConfigChannel(&htim4, &sConfigOC, TIM_CHANNEL_2) != HAL_OK)
  {
    Error_Handler();
  }
  if (HAL_TIM_PWM_ConfigChannel(&htim4, &sConfigOC, TIM_CHANNEL_3) != HAL_OK)
  {
    Error_Handler();
  }
  if (HAL_TIM_PWM_ConfigChannel(&htim4, &sConfigOC, TIM_CHANNEL_4) != HAL_OK)
  {
    Error_Handler();
  }
  HAL_TIM_MspPostInit(&htim4);

}

static void MX_USART1_UART_Init(void)
{

  huart1.Instance = USART1;
  huart1.Init.BaudRate = 100000;
  huart1.Init.WordLength = UART_WORDLENGTH_8B;
  huart1.Init.StopBits = UART_STOPBITS_1;
  huart1.Init.Parity = UART_PARITY_EVEN;
  huart1.Init.Mode = UART_MODE_TX_RX;
  huart1.Init.HwFlowCtl = UART_HWCONTROL_NONE;
  huart1.Init.OverSampling = UART_OVERSAMPLING_16;
  if (HAL_UART_Init(&huart1) != HAL_OK)
  {
    Error_Handler();
  }

}

static void MX_DMA_Init(void)
{

  /* DMA controller clock enable */
  __HAL_RCC_DMA2_CLK_ENABLE();

  /* DMA interrupt init */
  /* DMA2_Stream1_IRQn interrupt configuration */
  HAL_NVIC_SetPriority(DMA2_Stream1_IRQn, 5, 0);
  HAL_NVIC_EnableIRQ(DMA2_Stream1_IRQn);
  /* DMA2_Stream2_IRQn interrupt configuration */
  HAL_NVIC_SetPriority(DMA2_Stream2_IRQn, 5, 0);
  HAL_NVIC_EnableIRQ(DMA2_Stream2_IRQn);

}

static void MX_GPIO_Init(void)
{
  GPIO_InitTypeDef GPIO_InitStruct = {0};

  /* GPIO Ports Clock Enable */
  __HAL_RCC_GPIOE_CLK_ENABLE();
  __HAL_RCC_GPIOA_CLK_ENABLE();
  __HAL_RCC_GPIOB_CLK_ENABLE();
  __HAL_RCC_GPIOD_CLK_ENABLE();
  __HAL_RCC_GPIOI_CLK_ENABLE();
  __HAL_RCC_GPIOF_CLK_ENABLE();
  __HAL_RCC_GPIOH_CLK_ENABLE();
  __HAL_RCC_GPIOC_CLK_ENABLE();
  __HAL_RCC_GPIOG_CLK_ENABLE();

  /*Configure GPIO pin Output Level */
  HAL_GPIO_WritePin(GPIOE, GPIO_PIN_3, GPIO_PIN_RESET);

  /*Configure GPIO pin Output Level */
  HAL_GPIO_WritePin(GPIOE, GPIO_PIN_4, GPIO_PIN_SET);

  /*Configure GPIO pin Output Level */
  HAL_GPIO_WritePin(GPIOI, GPIO_PIN_9, GPIO_PIN_RESET);

  /*Configure GPIO pin Output Level */
  HAL_GPIO_WritePin(GPIOC, GPIO_PIN_1|GPIO_PIN_2|GPIO_PIN_3|GPIO_PIN_5, GPIO_PIN_RESET);

  /*Configure GPIO pin Output Level */
  HAL_GPIO_WritePin(GPIOG, GPIO_PIN_1, GPIO_PIN_RESET);

  /*Configure GPIO pin Output Level */
  HAL_GPIO_WritePin(GPIOA, GPIO_PIN_4|GPIO_PIN_5, GPIO_PIN_RESET);

  /*Configure GPIO pin Output Level */
  HAL_GPIO_WritePin(GPIOB, GPIO_PIN_1, GPIO_PIN_RESET);

  /*Configure GPIO pins : PE3 PE4 */
  GPIO_InitStruct.Pin = GPIO_PIN_3|GPIO_PIN_4;
  GPIO_InitStruct.Mode = GPIO_MODE_OUTPUT_PP;
  GPIO_InitStruct.Pull = GPIO_NOPULL;
  GPIO_InitStruct.Speed = GPIO_SPEED_FREQ_LOW;
  HAL_GPIO_Init(GPIOE, &GPIO_InitStruct);

  /*Configure GPIO pin : PI6 */
  GPIO_InitStruct.Pin = GPIO_PIN_6;
  GPIO_InitStruct.Mode = GPIO_MODE_IT_RISING_FALLING;
  GPIO_InitStruct.Pull = GPIO_NOPULL;
  HAL_GPIO_Init(GPIOI, &GPIO_InitStruct);

  /*Configure GPIO pin : PI5 */
  GPIO_InitStruct.Pin = GPIO_PIN_5;
  GPIO_InitStruct.Mode = GPIO_MODE_IT_RISING;
  GPIO_InitStruct.Pull = GPIO_PULLDOWN;
  HAL_GPIO_Init(GPIOI, &GPIO_InitStruct);

  /*Configure GPIO pin : PI9 */
  GPIO_InitStruct.Pin = GPIO_PIN_9;
  GPIO_InitStruct.Mode = GPIO_MODE_OUTPUT_PP;
  GPIO_InitStruct.Pull = GPIO_NOPULL;
  GPIO_InitStruct.Speed = GPIO_SPEED_FREQ_LOW;
  HAL_GPIO_Init(GPIOI, &GPIO_InitStruct);

  /*Configure GPIO pin : PI0 */
  GPIO_InitStruct.Pin = GPIO_PIN_0;
  GPIO_InitStruct.Mode = GPIO_MODE_INPUT;
  GPIO_InitStruct.Pull = GPIO_PULLUP;
  HAL_GPIO_Init(GPIOI, &GPIO_InitStruct);

  /*Configure GPIO pin : PH12 */
  GPIO_InitStruct.Pin = GPIO_PIN_12;
  GPIO_InitStruct.Mode = GPIO_MODE_IT_RISING;
  GPIO_InitStruct.Pull = GPIO_PULLDOWN;
  HAL_GPIO_Init(GPIOH, &GPIO_InitStruct);

  /*Configure GPIO pin : PF10 */
  GPIO_InitStruct.Pin = GPIO_PIN_10;
  GPIO_InitStruct.Mode = GPIO_MODE_IT_RISING;
  GPIO_InitStruct.Pull = GPIO_NOPULL;
  HAL_GPIO_Init(GPIOF, &GPIO_InitStruct);

  /*Configure GPIO pins : PC1 PC2 PC3 PC5 */
  GPIO_InitStruct.Pin = GPIO_PIN_1|GPIO_PIN_2|GPIO_PIN_3|GPIO_PIN_5;
  GPIO_InitStruct.Mode = GPIO_MODE_OUTPUT_PP;
  GPIO_InitStruct.Pull = GPIO_NOPULL;
  GPIO_InitStruct.Speed = GPIO_SPEED_FREQ_LOW;
  HAL_GPIO_Init(GPIOC, &GPIO_InitStruct);

  /*Configure GPIO pin : PG1 */
  GPIO_InitStruct.Pin = GPIO_PIN_1;
  GPIO_InitStruct.Mode = GPIO_MODE_OUTPUT_PP;
  GPIO_InitStruct.Pull = GPIO_NOPULL;
  GPIO_InitStruct.Speed = GPIO_SPEED_FREQ_LOW;
  HAL_GPIO_Init(GPIOG, &GPIO_InitStruct);

  /*Configure GPIO pins : PA4 PA5 */
  GPIO_InitStruct.Pin = GPIO_PIN_4|GPIO_PIN_5;
  GPIO_InitStruct.Mode = GPIO_MODE_OUTPUT_PP;
  GPIO_InitStruct.Pull = GPIO_NOPULL;
  GPIO_InitStruct.Speed = GPIO_SPEED_FREQ_LOW;
  HAL_GPIO_Init(GPIOA, &GPIO_InitStruct);

  /*Configure GPIO pins : PA2 PA3 */
  GPIO_InitStruct.Pin = GPIO_PIN_2|GPIO_PIN_3;
  GPIO_InitStruct.Mode = GPIO_MODE_IT_RISING;
  GPIO_InitStruct.Pull = GPIO_PULLDOWN;
  HAL_GPIO_Init(GPIOA, &GPIO_InitStruct);

  /*Configure GPIO pin : PB1 */
  GPIO_InitStruct.Pin = GPIO_PIN_1;
  GPIO_InitStruct.Mode = GPIO_MODE_OUTPUT_PP;
  GPIO_InitStruct.Pull = GPIO_NOPULL;
  GPIO_InitStruct.Speed = GPIO_SPEED_FREQ_LOW;
  HAL_GPIO_Init(GPIOB, &GPIO_InitStruct);

  /* EXTI interrupt init*/
  HAL_NVIC_SetPriority(EXTI2_IRQn, 5, 0);
  HAL_NVIC_EnableIRQ(EXTI2_IRQn);

  HAL_NVIC_SetPriority(EXTI3_IRQn, 5, 0);
  HAL_NVIC_EnableIRQ(EXTI3_IRQn);

  HAL_NVIC_SetPriority(EXTI9_5_IRQn, 5, 0);
  HAL_NVIC_EnableIRQ(EXTI9_5_IRQn);

  HAL_NVIC_SetPriority(EXTI15_10_IRQn, 5, 0);
  HAL_NVIC_EnableIRQ(EXTI15_10_IRQn);

}

__weak void ControlTask(void *argument)
{
  /* init code for USB_DEVICE */
  MX_USB_DEVICE_Init();
  /* USER CODE BEGIN 5 */

//  uint32_t counting = 0;
//
//  int counter = 42;
  /* Infinite loop */
  for(;;)
  {
	  osDelay(1000);
//    uint32_t delay = lv_timer_handler();
//    if (delay < 5U) {
//      delay = 5U;
//    }
//    osDelay(delay);

  }
  /* USER CODE END 5 */
}

__weak void PitchnYawTask(void *argument)
{
  for(;;)
  {
    osDelay(1);
  }
}

__weak void LauncherTask(void *argument)
{
  for(;;)
  {
    osDelay(1);
  }
}

void HAL_TIM_PeriodElapsedCallback(TIM_HandleTypeDef *htim)
{
  if (htim->Instance == TIM6) {
    HAL_IncTick();
  }
}

void Error_Handler(void)
{
  __disable_irq();
  while (1)
  {
  }
}
